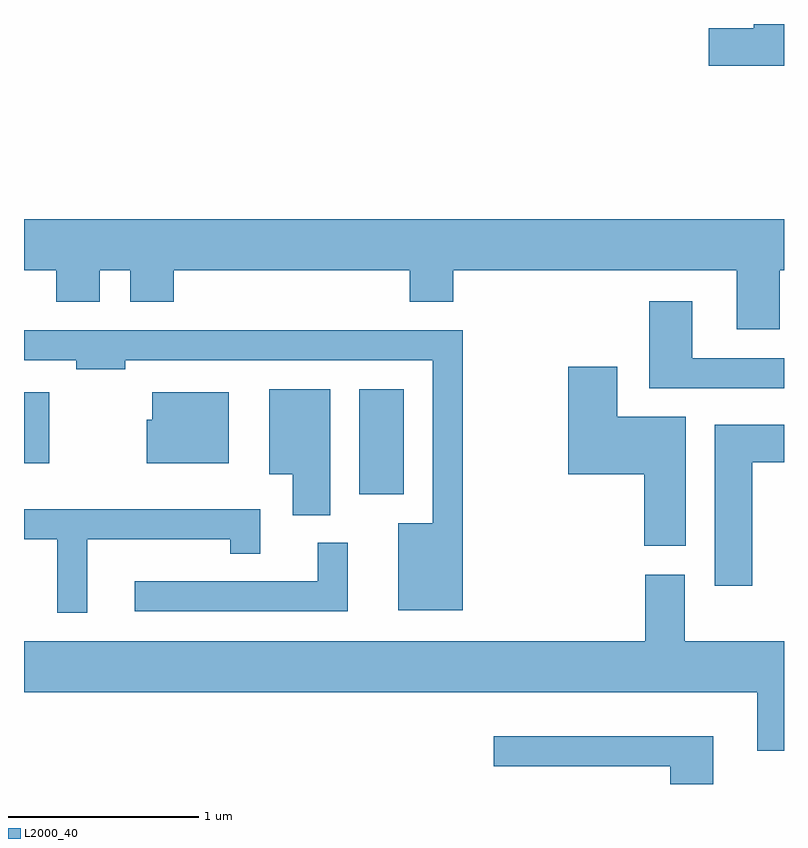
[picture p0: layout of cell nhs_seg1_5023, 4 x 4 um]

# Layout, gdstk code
import gdstk
lib = gdstk.Library(unit=1e-6, precision=1e-09)
def R(c, l, rs):  # rectangles x0, y0, x1, y1
    for r in rs: c.add(gdstk.rectangle(r[:2], r[2:], *l))
def P(c, l, *ps):  # polygons
    for p in ps: c.add(gdstk.Polygon(p, *l))
L2000_40 = (2000, 40)

nhs_seg1_5023 = lib.new_cell('nhs_seg1_5023')
R(nhs_seg1_5023, L2000_40, [(337.376,947.236,337.609,947.789), (335.611,947.401,335.744,947.774)])
P(nhs_seg1_5023, L2000_40, [(339.611,949.712),(339.451,949.712),(339.451,949.689),(339.216,949.689),(339.216,949.491),(339.611,949.491)],
  [(339.589,948.416),(339.611,948.416),(339.611,948.684),(335.611,948.684),(335.611,948.416),(335.781,948.416),(335.781,948.251),(336.009,948.251),(336.009,948.416),(336.171,948.416),(336.171,948.251),(336.399,948.251),(336.399,948.416),(337.641,948.416),(337.641,948.251),(337.869,948.251),(337.869,948.416),(339.361,948.416),(339.361,948.106),(339.589,948.106)],
  [(339.611,947.954),(339.129,947.954),(339.129,948.254),(338.901,948.254),(338.901,947.796),(339.611,947.796)],
  [(337.919,948.099),(335.611,948.099),(335.611,947.941),(335.886,947.941),(335.886,947.896),(336.144,947.896),(336.144,947.941),(337.761,947.941),(337.761,947.084),(337.581,947.084),(337.581,946.626),(337.919,946.626)],
  [(339.094,947.644),(338.734,947.644),(338.734,947.909),(338.476,947.909),(338.476,947.341),(338.876,947.341),(338.876,946.966),(339.094,946.966)],
  [(337.224,947.789),(336.901,947.789),(336.901,947.341),(337.026,947.341),(337.026,947.126),(337.224,947.126)],
  [(336.689,947.774),(336.286,947.774),(336.286,947.629),(336.256,947.629),(336.256,947.401),(336.689,947.401)],
  [(339.444,947.406),(339.611,947.406),(339.611,947.604),(339.246,947.604),(339.246,946.756),(339.444,946.756)],
  [(335.944,947.001),(336.696,947.001),(336.696,946.923),(336.854,946.923),(336.854,947.159),(335.611,947.159),(335.611,947.001),(335.786,947.001),(335.786,946.613),(335.944,946.613)],
  [(337.314,946.983),(337.156,946.983),(337.156,946.779),(336.193,946.779),(336.193,946.621),(337.314,946.621)],
  [(339.611,946.464),(339.089,946.464),(339.089,946.814),(338.881,946.814),(338.881,946.464),(335.611,946.464),(335.611,946.196),(339.471,946.196),(339.471,945.886),(339.611,945.886)],
  [(339.239,945.964),(338.083,945.964),(338.083,945.806),(339.011,945.806),(339.011,945.712),(339.239,945.712)])

lib.write_gds('nhs_seg1_5023.gds')
